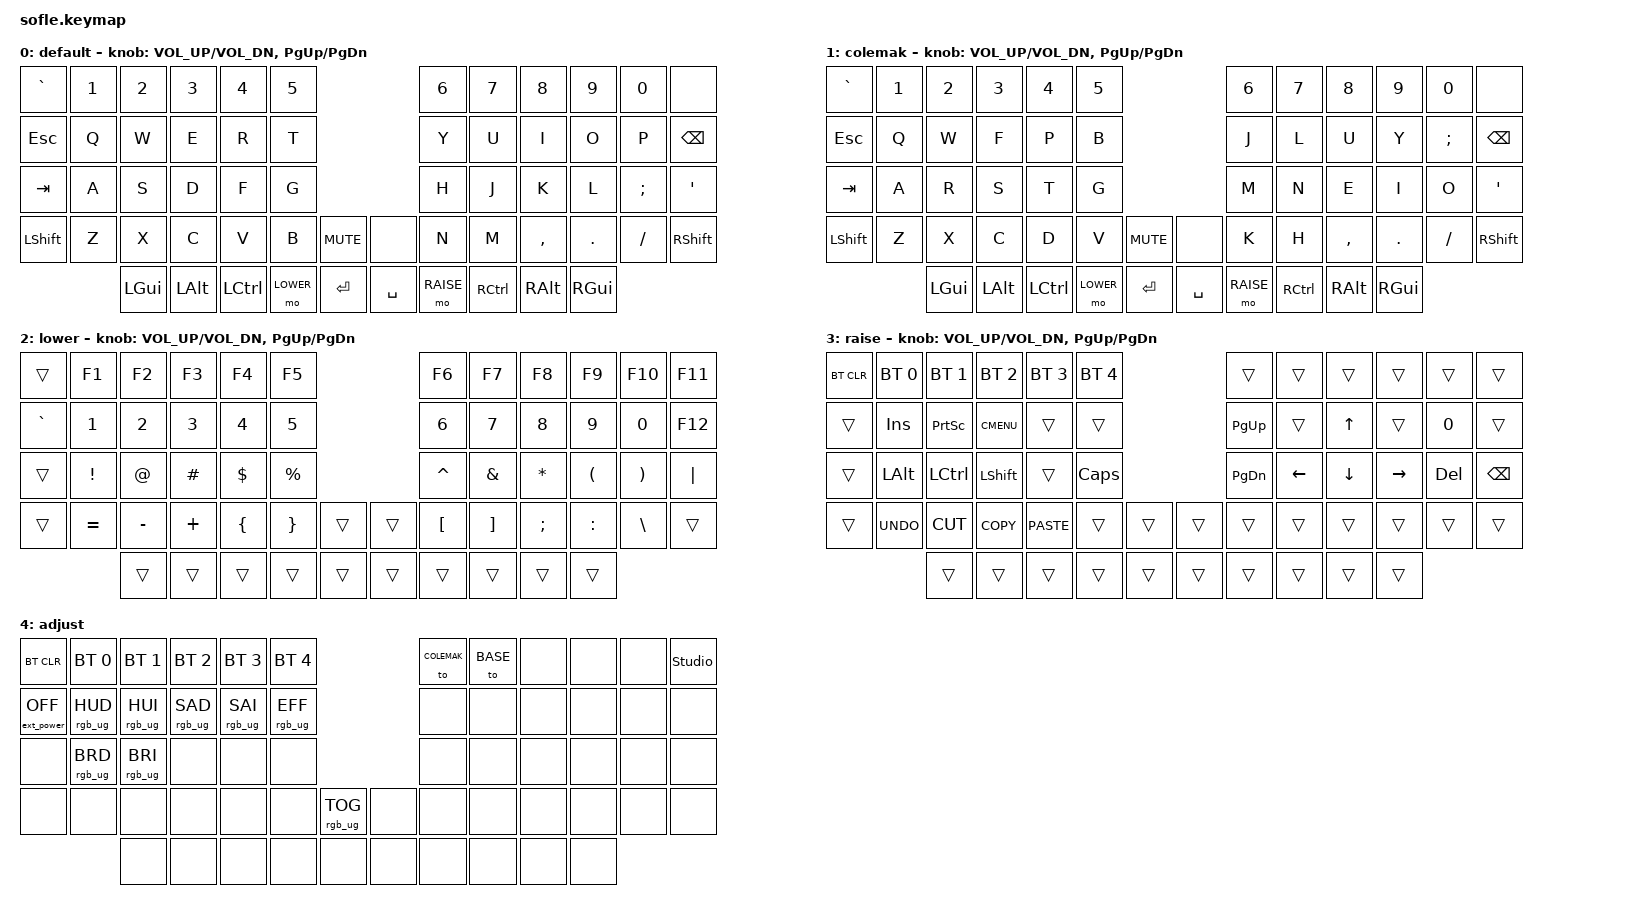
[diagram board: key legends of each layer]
/*
 * Copyright (c) 2020 The ZMK Contributors
 *
 * SPDX-License-Identifier: MIT
 */

#include <behaviors.dtsi>
#include <dt-bindings/zmk/keys.h>
#include <dt-bindings/zmk/bt.h>
#include <dt-bindings/zmk/rgb.h>
#include <dt-bindings/zmk/ext_power.h>

#define BASE 0
#define COLEMAK 1
#define LOWER 2
#define RAISE 3
#define ADJUST 4

/ {

   // Activate ADJUST layer by pressing raise and lower
    conditional_layers {
        compatible = "zmk,conditional-layers";
        adjust_layer {
            if-layers = <LOWER RAISE>;
            then-layer = <ADJUST>;
        };
    };

    keymap {
        compatible = "zmk,keymap";

        default_layer {
            display-name = "default";
// ------------------------------------------------------------------------------------------------------------
// |   `   |  1  |  2  |  3   |  4   |  5   |                   |  6   |  7    |  8    |  9   |   0   |       |
// |  ESC  |  Q  |  W  |  E   |  R   |  T   |                   |  Y   |  U    |  I    |  O   |   P   | BKSPC |
// |  TAB  |  A  |  S  |  D   |  F   |  G   |                   |  H   |  J    |  K    |  L   |   ;   |   '   |
// | SHIFT |  Z  |  X  |  C   |  V   |  B   |  MUTE  |  |       |  N   |  M    |  ,    |  .   |   /   | SHIFT |
//               | GUI | ALT  | CTRL | LOWER|  ENTER |  | SPACE | RAISE| CTRL  | ALT   | GUI  |
            bindings = <
&kp GRAVE &kp N1 &kp N2   &kp N3   &kp N4    &kp N5                           &kp N6 &kp N7    &kp N8    &kp N9   &kp N0   &none
&kp ESC   &kp Q  &kp W    &kp E    &kp R     &kp T                            &kp Y  &kp U     &kp I     &kp O    &kp P    &kp BSPC
&kp TAB   &kp A  &kp S    &kp D    &kp F     &kp G                            &kp H  &kp J     &kp K     &kp L    &kp SEMI &kp SQT
&kp LSHFT &kp Z  &kp X    &kp C    &kp V     &kp B      &kp C_MUTE &none      &kp N  &kp M     &kp COMMA &kp DOT  &kp FSLH &kp RSHFT
                 &kp LGUI &kp LALT &kp LCTRL &mo LOWER  &kp RET    &kp SPACE  &mo RAISE  &kp RCTRL &kp RALT  &kp RGUI
            >;

            sensor-bindings = <&inc_dec_kp C_VOL_UP C_VOL_DN &inc_dec_kp PG_UP PG_DN>;
        };

        colemak_layer {
            display-name = "colemak";
// ------------------------------------------------------------------------------------------------------------
// |   `   |  1  |  2  |  3   |  4   |  5   |                                |  6   |  7    |  8    |  9   |   0   |       |
// |  ESC  |  Q  |  W  |  F   |  P   |  B   |                                |  J   |  L    |  U    |  Y   |   ;   | BKSPC |
// |  TAB  |  A  |  R  |  S   |  T   |  G   |                                |  M   |  N    |  E    |  I   |   O   |   '   |
// | SHIFT |  Z  |  X  |  C   |  D   |  V   |  MUTE  |               |       |  K   |  H    |  ,    |  .   |   /   | SHIFT |
//               | GUI | ALT  | CTRL | LOWER|  ENTER |               | SPACE | RAISE| CTRL  | ALT   | GUI  |
            bindings = <
&kp GRAVE &kp N1 &kp N2   &kp N3   &kp N4    &kp N5                           &kp N6 &kp N7    &kp N8    &kp N9   &kp N0   &none
&kp ESC   &kp Q  &kp W    &kp F    &kp P     &kp B                            &kp J  &kp L     &kp U     &kp Y    &kp SEMI    &kp BSPC
&kp TAB   &kp A  &kp R    &kp S    &kp T     &kp G                            &kp M  &kp N     &kp E     &kp I    &kp O &kp SQT
&kp LSHFT &kp Z  &kp X    &kp C    &kp D     &kp V      &kp C_MUTE &none      &kp K  &kp H     &kp COMMA &kp DOT  &kp FSLH &kp RSHFT
                 &kp LGUI &kp LALT &kp LCTRL &mo LOWER  &kp RET    &kp SPACE  &mo RAISE  &kp RCTRL &kp RALT  &kp RGUI
            >;

            sensor-bindings = <&inc_dec_kp C_VOL_UP C_VOL_DN &inc_dec_kp PG_UP PG_DN>;
        };

        lower_layer {
            display-name = "lower";
// TODO: Some binds are waiting for shifted keycode support.
// ------------------------------------------------------------------------------------------------------------
// |       |  F1 |  F2 |  F3  |  F4  |  F5  |                   |  F6  |  F7   |  F8   |  F9  |  F10  |  F11  |
// |   `   |  1  |  2  |  3   |  4   |  5   |                   |  6   |  7    |  8    |  9   |   0   |  F12  |
// |       |  !  |  @  |  #   |  $   |  %   |                   |  ^   |  &    |  *    |  (   |   )   |   |   |
// |       |  =  |  -  |  +   |  {   |  }   |        |  |       |  [   |  ]    |  ;    |  :   |   \   |       |
//               |     |      |      |      |        |  |       |      |       |       |      |
            bindings = <
&trans    &kp F1    &kp F2    &kp F3      &kp F4    &kp F5                    &kp F6    &kp F7   &kp F8    &kp F9    &kp F10   &kp F11
&kp GRAVE &kp N1    &kp N2    &kp N3      &kp N4    &kp N5                    &kp N6    &kp N7   &kp N8    &kp N9    &kp N0    &kp F12
&trans    &kp EXCL  &kp AT    &kp HASH    &kp DLLR  &kp PRCNT                 &kp CARET &kp AMPS &kp ASTRK &kp LPAR  &kp RPAR  &kp PIPE
&trans    &kp EQUAL &kp MINUS &kp PLUS &kp LBRC  &kp RBRC   &trans &trans  &kp LBKT  &kp RBKT &kp SEMI  &kp COLON &kp BSLH  &trans
                    &trans    &trans      &trans    &trans     &trans &trans  &trans    &trans   &trans    &trans
            >;

            sensor-bindings = <&inc_dec_kp C_VOL_UP C_VOL_DN &inc_dec_kp PG_UP PG_DN>;
        };

        raise_layer {
            display-name = "raise";
// ------------------------------------------------------------------------------------------------------------
// | BTCLR | BT1  | BT2  |  BT3  |  BT4  |  BT5 |                |      |      |       |      |       |       |
// |       | INS  | PSCR | GUI   |       |      |                | PGUP |      |   ^   |      |       |       |
// |       | ALT  | CTRL | SHIFT |       | CAPS |                | PGDN |   <- |   v   |  ->  |  DEL  | BKSPC |
// |       | UNDO | CUT  | COPY  | PASTE |      |      |  |      |      |      |       |      |       |       |
//                |      |       |       |      |      |  |      |      |      |       |      |
            bindings = <
&bt BT_CLR &bt BT_SEL 0 &bt BT_SEL 1 &bt BT_SEL 2 &bt BT_SEL 3 &bt BT_SEL 4                  &trans    &trans    &trans   &trans    &trans  &trans
&trans     &kp INS      &kp PSCRN    &kp K_CMENU  &trans       &trans                        &kp PG_UP &trans    &kp UP   &trans    &kp N0  &trans
&trans     &kp LALT     &kp LCTRL    &kp LSHFT    &trans       &kp CLCK                      &kp PG_DN &kp LEFT  &kp DOWN &kp RIGHT &kp DEL &kp BSPC
&trans     &kp K_UNDO   &kp K_CUT    &kp K_COPY   &kp K_PASTE  &trans        &trans  &trans  &trans    &trans    &trans   &trans    &trans  &trans
                        &trans       &trans       &trans       &trans        &trans  &trans  &trans    &trans    &trans   &trans
            >;

            sensor-bindings = <&inc_dec_kp C_VOL_UP C_VOL_DN &inc_dec_kp PG_UP PG_DN>;
        };

        adjust_layer {
// ----------------------------------------------------------------------------------------------------------------------------
// | BTCLR  |  BT1    |  BT2    |   BT3   |   BT4   |   BT5   |                                                          |Colema|qwerty|       |      |       |zmk-studio|
// | EXTPWR | RGB_HUD | RGB_HUI | RGB_SAD | RGB_SAI | RGB_EFF |                                                          |      |      |       |      |       |       |
// |        | RGB_BRD | RGB_BRI |         |         |         |                                                          |      |      |       |      |       |       |
// |        |         |         |         |         |         | RGB_TOG |                                         |      |      |      |       |      |       |       |
//                    |         |         |         |         |         |                                         |      |      |      |       |      |
            display-name = "adjust";
            bindings = <
&bt BT_CLR        &bt BT_SEL 0    &bt BT_SEL 1    &bt BT_SEL 2    &bt BT_SEL 3    &bt BT_SEL 4                            &to COLEMAK  &to BASE &none &none &none &studio_unlock
&ext_power EP_OFF &rgb_ug RGB_HUD &rgb_ug RGB_HUI &rgb_ug RGB_SAD &rgb_ug RGB_SAI &rgb_ug RGB_EFF                         &none &none &none &none &none &none
&none             &rgb_ug RGB_BRD &rgb_ug RGB_BRI &none           &none           &none                                   &none &none &none &none &none &none
&none             &none           &none           &none           &none           &none            &rgb_ug RGB_TOG &none  &none &none &none &none &none &none
                                  &none           &none           &none           &none            &none           &none  &none &none &none &none
            >;
        };

    };
};
